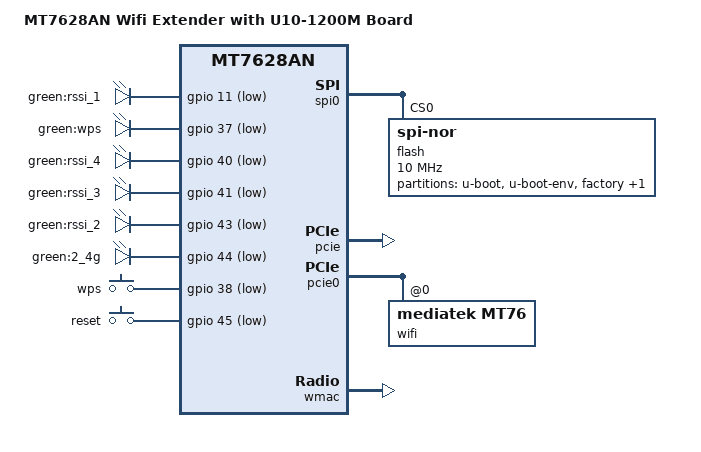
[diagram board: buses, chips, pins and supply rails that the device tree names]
#include "mt7628an.dtsi"

#include <dt-bindings/gpio/gpio.h>
#include <dt-bindings/input/input.h>


/ {
       compatible = "noname,u10-8m", "noname,u10-32m", "mediatek,mt7628an-soc";
       model = "MT7628AN Wifi Extender with U10-1200M Board";

        chosen {
                bootargs = "console=ttyS0,57600n8 root=/dev/mtdblock5 print-fatal-signals=1";
        };

        aliases {
                label-mac-device = &ethernet;
        };

        leds {
                compatible = "gpio-leds";

                led11 {
                        label = "green:rssi_1";
                        gpios = <&gpio 11 GPIO_ACTIVE_LOW>;
                };
		led37 {
			label = "green:wps";
                        gpios = <&gpio 37 GPIO_ACTIVE_LOW>;

		};
                led40 {
                        label = "green:rssi_4";
                        gpios = <&gpio 40 GPIO_ACTIVE_LOW>;
                };
                led41 {
                        label = "green:rssi_3";
                        gpios = <&gpio 41 GPIO_ACTIVE_LOW>;
                };
                led43 {
                        label = "green:rssi_2";
                        gpios = <&gpio 43 GPIO_ACTIVE_LOW>;
                };

                led44 {
                        label = "green:2_4g";
                        gpios = <&gpio 44 GPIO_ACTIVE_LOW>;
                };
        };


        keys {
                compatible = "gpio-keys";

                wps {
                        label = "wps";
                        gpios = <&gpio 38 GPIO_ACTIVE_LOW>;
                        linux,code = <KEY_WPS_BUTTON>;
                };

                reset {
                        label = "reset";
                        gpios = <&gpio 45 GPIO_ACTIVE_LOW>;
                        linux,code = <KEY_RESTART>;
                };
        };
};

&state_default {
       gpio {
               // p1led_an : lan
               // p4led_an : wan
               groups = "gpio", "refclk", "wdt", "wled_an", "uart1", "p0led_an", "p2led_an", "p3led_an";
               function = "gpio";
       };
};

&spi0 {
       status = "okay";

       flash@0 {
               compatible = "jedec,spi-nor";
               reg = <0>;
               spi-max-frequency = <10000000>;

               partitions {
                       compatible = "fixed-partitions";
                       #address-cells = <1>;
                       #size-cells = <1>;

                       partition@0 {
                               label = "u-boot";
                               reg = <0x0 0x30000>;
                               read-only;
                       };

                       partition@30000 {
                               label = "u-boot-env";
                               reg = <0x30000 0x10000>;
                               read-only;
                       };

                       factory: partition@40000 {
                               label = "factory";
                               reg = <0x40000 0x10000>;
                               read-only;
                       };

                       partition@50000 {
                               compatible = "denx,uimage";
                               label = "firmware";
                               reg = <0x50000 0x7b0000>;
                       };
               };
       };
};

&pcie {
        status = "okay";
};

&pcie0 {
        wifi@0,0 {
                compatible = "mediatek,mt76";
                reg = <0x0000 0 0 0 0>;
                mediatek,mtd-eeprom = <&factory 0x8000>;
                ieee80211-freq-limit = <5000000 6000000>;
        };
};

&ethernet {
        nvmem-cells = <&macaddr_factory_28>;
        nvmem-cell-names = "mac-address";
};

&wmac {
        mediatek,mtd-eeprom = <&factory 0x0>;
	status = "okay";	
};

&esw {
        mediatek,portmap = <0x3e>;
	// port 1 (bit 1): lan
	// port 4 (bit 4): wan
	mediatek,portdisable = <0x2d>;
};

&ehci {
        status = "disabled";
};

&ohci {
        status = "disabled";
};

&factory {
        compatible = "nvmem-cells";
        #address-cells = <1>;
        #size-cells = <1>;

        macaddr_factory_4: macaddr@4 {
                reg = <0x4 0x6>;
        };

        macaddr_factory_28: macaddr@28 {
                reg = <0x28 0x6>;
        };
        macaddr_factory_8004: macaddr@8004 {
                reg = <0x8004 0x6>;
        };
};


